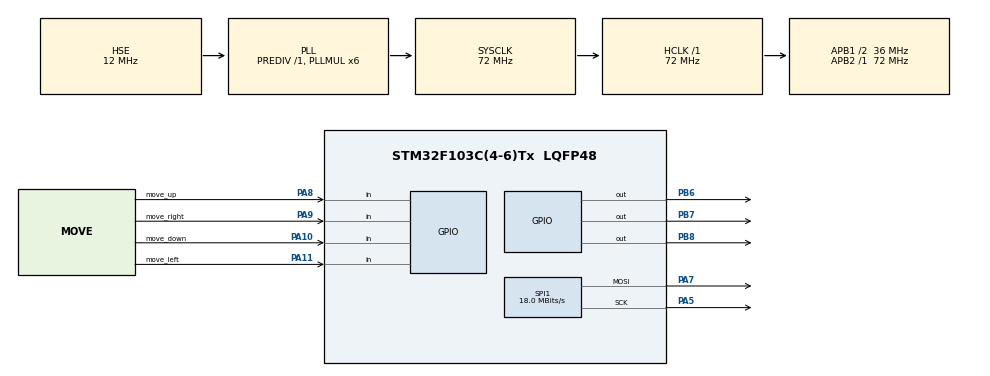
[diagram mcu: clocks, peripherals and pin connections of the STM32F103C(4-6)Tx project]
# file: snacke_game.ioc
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Mcu.Family=STM32F1
Mcu.Name=STM32F103C(4-6)Tx
Mcu.Package=LQFP48
NVIC.PriorityGroup=NVIC_PRIORITYGROUP_4
PA10.GPIO_Label=move_down
PA10.GPIO_PuPd=GPIO_PULLDOWN
PA10.Signal=GPIO_Input
PA11.GPIO_Label=move_left
PA11.GPIO_PuPd=GPIO_PULLDOWN
PA11.Signal=GPIO_Input
PA13.Mode=JTAG_4_pins
PA13.Signal=SYS_JTMS-SWDIO
PA14.Mode=JTAG_4_pins
PA14.Signal=SYS_JTCK-SWCLK
PA15.Mode=JTAG_4_pins
PA15.Signal=SYS_JTDI
PA5.Mode=TX_Only_Simplex_Unidirect_Master
PA5.Signal=SPI1_SCK
PA7.Mode=TX_Only_Simplex_Unidirect_Master
PA7.Signal=SPI1_MOSI
PA8.GPIO_Label=move_up
PA8.GPIO_PuPd=GPIO_PULLDOWN
PA8.Signal=GPIO_Input
PA9.GPIO_Label=move_right
PA9.GPIO_PuPd=GPIO_PULLDOWN
PA9.Signal=GPIO_Input
PB3.Mode=JTAG_4_pins
PB3.Signal=SYS_JTDO-TRACESWO
PB6.Signal=GPIO_Output
PB7.Signal=GPIO_Output
PB8.Signal=GPIO_Output
PD0-OSC_IN.Mode=HSE-External-Oscillator
PD0-OSC_IN.Signal=RCC_OSC_IN
PD1-OSC_OUT.Mode=HSE-External-Oscillator
PD1-OSC_OUT.Signal=RCC_OSC_OUT
ProjectManager.HeapSize=0x200
ProjectManager.StackSize=0x400
ProjectManager.TargetToolchain=STM32CubeIDE
RCC.AHBFreq_Value=72000000
RCC.APB1CLKDivider=RCC_HCLK_DIV2
RCC.APB1Freq_Value=36000000
RCC.APB1TimFreq_Value=72000000
RCC.APB2Freq_Value=72000000
RCC.APB2TimFreq_Value=72000000
RCC.HCLKFreq_Value=72000000
RCC.HSE_VALUE=12000000
RCC.PLLMUL=RCC_PLL_MUL6
RCC.PLLSourceVirtual=RCC_PLLSOURCE_HSE
RCC.SYSCLKFreq_VALUE=72000000
RCC.SYSCLKSource=RCC_SYSCLKSOURCE_PLLCLK
RCC.USBFreq_Value=72000000
SPI1.BaudRatePrescaler=SPI_BAUDRATEPRESCALER_4
SPI1.CalculateBaudRate=18.0 MBits/s
SPI1.Direction=SPI_DIRECTION_2LINES
SPI1.Mode=SPI_MODE_MASTER
SPI1.VirtualType=VM_MASTER
board=custom

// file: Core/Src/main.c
/* USER CODE BEGIN Header */
/**
 ******************************************************************************
 * @file           : main.c
 * @brief          : Main program body
 ******************************************************************************
 * @attention
 *
 * Copyright (c) 2024 STMicroelectronics.
 * All rights reserved.
 *
 * This software is licensed under terms that can be found in the LICENSE file
 * in the root directory of this software component.
 * If no LICENSE file comes with this software, it is provided AS-IS.
 *
 ******************************************************************************
 */
/* USER CODE END Header */
#include "main.h"

/* USER CODE BEGIN Includes */
#include "st7735.h"

/* USER CODE END Includes */

/* USER CODE BEGIN PD */
#define ReadKey1 HAL_GPIO_ReadPin(GPIOA, move_up_Pin)
#define ReadKey2 HAL_GPIO_ReadPin(GPIOA, move_right_Pin)
#define ReadKey3 HAL_GPIO_ReadPin(GPIOA, move_down_Pin)
#define ReadKey4 HAL_GPIO_ReadPin(GPIOA, move_left_Pin)

uint8_t playground[4] = { 7, 7, 126, 126 };

bool apple_flag = false;
/* USER CODE END PD */

SPI_HandleTypeDef hspi1;

void SystemClock_Config(void);
static void MX_GPIO_Init(void);
static void MX_SPI1_Init(void);

/* USER CODE BEGIN 0 */

typedef struct {
	uint8_t x0;
	uint8_t y0;
	uint8_t x1;
	uint8_t y1;
} Snake;

void game_over_wall(Snake head) {
	if (head.x1 < playground[0] || head.x1 > playground[2]) {
		HAL_Delay(500);
		ST7735_DrawRect(0, 0, 140, 140, ST7735_COLOR_RED);
		ST7735_DrawRect(20, 20, 60, 120, ST7735_COLOR_BLACK);
		ST7735_DrawRect(30, 30, 50, 110, ST7735_COLOR_RED);
		ST7735_DrawRect(30, 30, 60, 50, ST7735_COLOR_RED);

		ST7735_DrawRect(70, 20, 120, 120, ST7735_COLOR_BLACK);
		ST7735_DrawRect(80, 30, 110, 110, ST7735_COLOR_RED);
		while (1) {
			ST7735_DrawRect(30, 30, 50, 50, ST7735_COLOR_RED);
		}
	} else if (head.y1 < playground[1] || head.y1 > playground[3]) {
		HAL_Delay(500);
		ST7735_DrawRect(0, 0, 140, 140, ST7735_COLOR_RED);
		ST7735_DrawRect(20, 20, 60, 120, ST7735_COLOR_BLACK);
		ST7735_DrawRect(30, 30, 50, 110, ST7735_COLOR_RED);
		ST7735_DrawRect(30, 30, 60, 50, ST7735_COLOR_RED);

		ST7735_DrawRect(70, 20, 120, 120, ST7735_COLOR_BLACK);
		ST7735_DrawRect(80, 30, 110, 110, ST7735_COLOR_RED);
		while (1) {
			ST7735_DrawRect(30, 30, 50, 50, ST7735_COLOR_RED);

		}
	}
}

void game_over_tail(Snake head, Snake *body, uint16_t body_size) {
    for (uint16_t i = 0; i < body_size; i++) {
        if ((head.x0 == body[i].x0 && head.y0 == body[i].y0) || (head.x1 == body[i].x1 && head.y1 == body[i].y1)) {
            HAL_Delay(500);
            ST7735_DrawRect(0, 0, 140, 140, ST7735_COLOR_RED);
            ST7735_DrawRect(20, 20, 60, 120, ST7735_COLOR_BLACK);
            ST7735_DrawRect(30, 30, 50, 110, ST7735_COLOR_RED);
            ST7735_DrawRect(30, 30, 60, 50, ST7735_COLOR_RED);

            ST7735_DrawRect(70, 20, 120, 120, ST7735_COLOR_BLACK);
            ST7735_DrawRect(80, 30, 110, 110, ST7735_COLOR_RED);
            while (1) {
                ST7735_DrawRect(30, 30, 50, 50, ST7735_COLOR_RED);
            }
        }
    }
}

Snake* initialize_body() {
	uint8_t size = 2;
	Snake *body = malloc(size * sizeof(Snake));
	for (uint8_t i = 0; i < size; i++) {
		body[i].x0 = 5 + i;
		body[i].y0 = 5 + i;
		body[i].x1 = 5 + i;
		body[i].y1 = 5 + i;
	}
	return body;
}

Snake* increase_body(Snake *body, uint8_t current_size) {
	uint8_t new_size = current_size + 1;
	body = realloc(body, new_size * sizeof(Snake));
	for (uint8_t i = current_size; i < new_size; i++) {
		body[i].x0 = body[current_size - 1].x0;
		body[i].y0 = body[current_size - 1].y0;
		body[i].x1 = body[current_size - 1].x1;
		body[i].y1 = body[current_size - 1].y1;
	}
	return body;
}

void spawn_apple(uint8_t apple_cords[4]) {
	uint8_t apple_x0;
	uint8_t apple_y0;
	if (apple_flag == false) {
		apple_x0 = 7 + 5 * (rand() % 24);
		do {
			apple_y0 = 7 + 5 * (rand() % 24);
		} while (apple_y0 == apple_x0);
		apple_cords[0] = apple_x0;
		apple_cords[1] = apple_y0;
		apple_cords[2] = apple_x0 + 4;
		apple_cords[3] = apple_y0 + 4;
		apple_flag = true;
	}
	ST7735_DrawRect(apple_cords[0], apple_cords[1], apple_cords[2],
			apple_cords[3], ST7735_COLOR_RED);
}

/* USER CODE END 0 */

int main(void) {

	/* MCU Configuration--------------------------------------------------------*/

	/* Reset of all peripherals, Initializes the Flash interface and the Systick. */
	HAL_Init();

	/* Configure the system clock */
	SystemClock_Config();

	/* Initialize all configured peripherals */
	MX_GPIO_Init();
	MX_SPI1_Init();
	/* USER CODE BEGIN 2 */

	bool flag_move_right = false;
	bool flag_move_left = false;
	bool flag_move_down = false;
	bool flag_move_up = false;

	int8_t move_num_x0 = 5;
	int8_t move_num_x1 = 5;
	int8_t move_num_y0 = 0;
	int8_t move_num_y1 = 0;

	uint8_t apple_cords[4];

	ST7735_Init();

	ST7735_DrawRect(0, 0, 140, 140, ST7735_COLOR_BLACK);
	ST7735_DrawRect(playground[0], playground[1], playground[2], playground[3],
	ST7735_COLOR_WHITE);

	Snake head;

	head.x0 = 72;
	head.y0 = 72;
	head.x1 = 76;
	head.y1 = 76;

	Snake *body = initialize_body();

	Snake after_tail;

	after_tail.x0 = 15;
	after_tail.y0 = 15;
	after_tail.x1 = 15;
	after_tail.y1 = 15;

	uint16_t body_size = 2;

	uint8_t move_num = 0;

	uint8_t delay_num = 0;
	/* USER CODE END 2 */

	/* Infinite loop */
	while (1) {

		/* USER CODE BEGIN 3 */
		if (ReadKey1 == 1) {
			move_num = 3; // move_up
		}
		if (ReadKey2 == 1) {
			move_num = 0; // move_right
		}
		if (ReadKey3 == 1) {
			move_num = 2; // move_down
		}
		if (ReadKey4 == 1) {
			move_num = 1; // move_left
		}

		delay_num = delay_num + 1;

		if (delay_num == 5) {

			if (head.x0 == apple_cords[0] && head.y0 == apple_cords[1]) {
				apple_flag = false;
				body = increase_body(body, body_size);
				body_size = body_size + 1;
			}

			spawn_apple(apple_cords);

			ST7735_DrawRect(after_tail.x0, after_tail.y0, after_tail.x1,
					after_tail.y1, ST7735_COLOR_WHITE);
			for (uint16_t i = 0; i < body_size; i++) {
				ST7735_DrawRect(body[i].x0, body[i].y0, body[i].x1, body[i].y1,
				ST7735_COLOR_GREEN);
			}
			ST7735_DrawRect(head.x0, head.y0, head.x1, head.y1,
			ST7735_COLOR_BLUE);

			after_tail.x0 = body[0].x0;
			after_tail.y0 = body[0].y0;
			after_tail.x1 = body[0].x1;
			after_tail.y1 = body[0].y1;

			for (uint16_t i = 0; i < body_size - 1; i++) {
				body[i].x0 = body[i + 1].x0;
				body[i].y0 = body[i + 1].y0;
				body[i].x1 = body[i + 1].x1;
				body[i].y1 = body[i + 1].y1;
			}

			body[body_size - 1].x0 = head.x0;
			body[body_size - 1].y0 = head.y0;
			body[body_size - 1].x1 = head.x1;
			body[body_size - 1].y1 = head.y1;

			switch (move_num) {
			case 0: //move_right
				if (flag_move_left == false) {
					move_num_x0 = 5;
					move_num_x1 = 5;
					move_num_y0 = 0;
					move_num_y1 = 0;

					flag_move_right = true;
					flag_move_left = false;
					flag_move_down = false;
					flag_move_up = false;
				}
				break;
			case 1: //move_left
				if (flag_move_right == false) {
					move_num_x0 = -5;
					move_num_x1 = -5;
					move_num_y0 = 0;
					move_num_y1 = 0;

					flag_move_right = false;
					flag_move_left = true;
					flag_move_down = false;
					flag_move_up = false;
				}
				break;
			case 2: //move_down
				if (flag_move_up == false) {
					move_num_x0 = 0;
					move_num_x1 = 0;
					move_num_y0 = 5;
					move_num_y1 = 5;

					flag_move_right = false;
					flag_move_left = false;
					flag_move_down = true;
					flag_move_up = false;
				}
				break;
			case 3: //move_up
				if (flag_move_down == false) {
					move_num_x0 = 0;
					move_num_x1 = 0;
					move_num_y0 = -5;
					move_num_y1 = -5;

					flag_move_right = false;
					flag_move_left = false;
					flag_move_down = false;
					flag_move_up = true;
				}
				break;
			}

			head.x0 = head.x0 + move_num_x0;
			head.x1 = head.x1 + move_num_x1;
			head.y0 = head.y0 + move_num_y0;
			head.y1 = head.y1 + move_num_y1;

			game_over_wall(head);
			game_over_tail(head, body, body_size);

			delay_num = 0;
		}

		HAL_Delay(20);

	}
	/* USER CODE END 3 */
}

void SystemClock_Config(void) {
	RCC_OscInitTypeDef RCC_OscInitStruct = { 0 };
	RCC_ClkInitTypeDef RCC_ClkInitStruct = { 0 };

	/** Initializes the RCC Oscillators according to the specified parameters
	 * in the RCC_OscInitTypeDef structure.
	 */
	RCC_OscInitStruct.OscillatorType = RCC_OSCILLATORTYPE_HSE;
	RCC_OscInitStruct.HSEState = RCC_HSE_ON;
	RCC_OscInitStruct.HSEPredivValue = RCC_HSE_PREDIV_DIV1;
	RCC_OscInitStruct.HSIState = RCC_HSI_ON;
	RCC_OscInitStruct.PLL.PLLState = RCC_PLL_ON;
	RCC_OscInitStruct.PLL.PLLSource = RCC_PLLSOURCE_HSE;
	RCC_OscInitStruct.PLL.PLLMUL = RCC_PLL_MUL6;
	if (HAL_RCC_OscConfig(&RCC_OscInitStruct) != HAL_OK) {
		Error_Handler();
	}

	/** Initializes the CPU, AHB and APB buses clocks
	 */
	RCC_ClkInitStruct.ClockType = RCC_CLOCKTYPE_HCLK | RCC_CLOCKTYPE_SYSCLK
			| RCC_CLOCKTYPE_PCLK1 | RCC_CLOCKTYPE_PCLK2;
	RCC_ClkInitStruct.SYSCLKSource = RCC_SYSCLKSOURCE_PLLCLK;
	RCC_ClkInitStruct.AHBCLKDivider = RCC_SYSCLK_DIV1;
	RCC_ClkInitStruct.APB1CLKDivider = RCC_HCLK_DIV2;
	RCC_ClkInitStruct.APB2CLKDivider = RCC_HCLK_DIV1;

	if (HAL_RCC_ClockConfig(&RCC_ClkInitStruct, FLASH_LATENCY_2) != HAL_OK) {
		Error_Handler();
	}
}

static void MX_SPI1_Init(void) {

	/* SPI1 parameter configuration*/
	hspi1.Instance = SPI1;
	hspi1.Init.Mode = SPI_MODE_MASTER;
	hspi1.Init.Direction = SPI_DIRECTION_2LINES;
	hspi1.Init.DataSize = SPI_DATASIZE_8BIT;
	hspi1.Init.CLKPolarity = SPI_POLARITY_LOW;
	hspi1.Init.CLKPhase = SPI_PHASE_1EDGE;
	hspi1.Init.NSS = SPI_NSS_SOFT;
	hspi1.Init.BaudRatePrescaler = SPI_BAUDRATEPRESCALER_4;
	hspi1.Init.FirstBit = SPI_FIRSTBIT_MSB;
	hspi1.Init.TIMode = SPI_TIMODE_DISABLE;
	hspi1.Init.CRCCalculation = SPI_CRCCALCULATION_DISABLE;
	hspi1.Init.CRCPolynomial = 10;
	if (HAL_SPI_Init(&hspi1) != HAL_OK) {
		Error_Handler();
	}

}

static void MX_GPIO_Init(void) {
	GPIO_InitTypeDef GPIO_InitStruct = { 0 };

	/* GPIO Ports Clock Enable */
	__HAL_RCC_GPIOD_CLK_ENABLE();
	__HAL_RCC_GPIOA_CLK_ENABLE();
	__HAL_RCC_GPIOB_CLK_ENABLE();

	/*Configure GPIO pin Output Level */
	HAL_GPIO_WritePin(GPIOB, GPIO_PIN_6 | GPIO_PIN_7 | GPIO_PIN_8,
			GPIO_PIN_RESET);

	/*Configure GPIO pins : move_up_Pin move_right_Pin move_down_Pin move_left_Pin */
	GPIO_InitStruct.Pin = move_up_Pin | move_right_Pin | move_down_Pin
			| move_left_Pin;
	GPIO_InitStruct.Mode = GPIO_MODE_INPUT;
	GPIO_InitStruct.Pull = GPIO_PULLDOWN;
	HAL_GPIO_Init(GPIOA, &GPIO_InitStruct);

	/*Configure GPIO pins : PB6 PB7 PB8 */
	GPIO_InitStruct.Pin = GPIO_PIN_6 | GPIO_PIN_7 | GPIO_PIN_8;
	GPIO_InitStruct.Mode = GPIO_MODE_OUTPUT_PP;
	GPIO_InitStruct.Pull = GPIO_NOPULL;
	GPIO_InitStruct.Speed = GPIO_SPEED_FREQ_LOW;
	HAL_GPIO_Init(GPIOB, &GPIO_InitStruct);

}

void Error_Handler(void) {
	__disable_irq();
	while (1) {
	}
}
